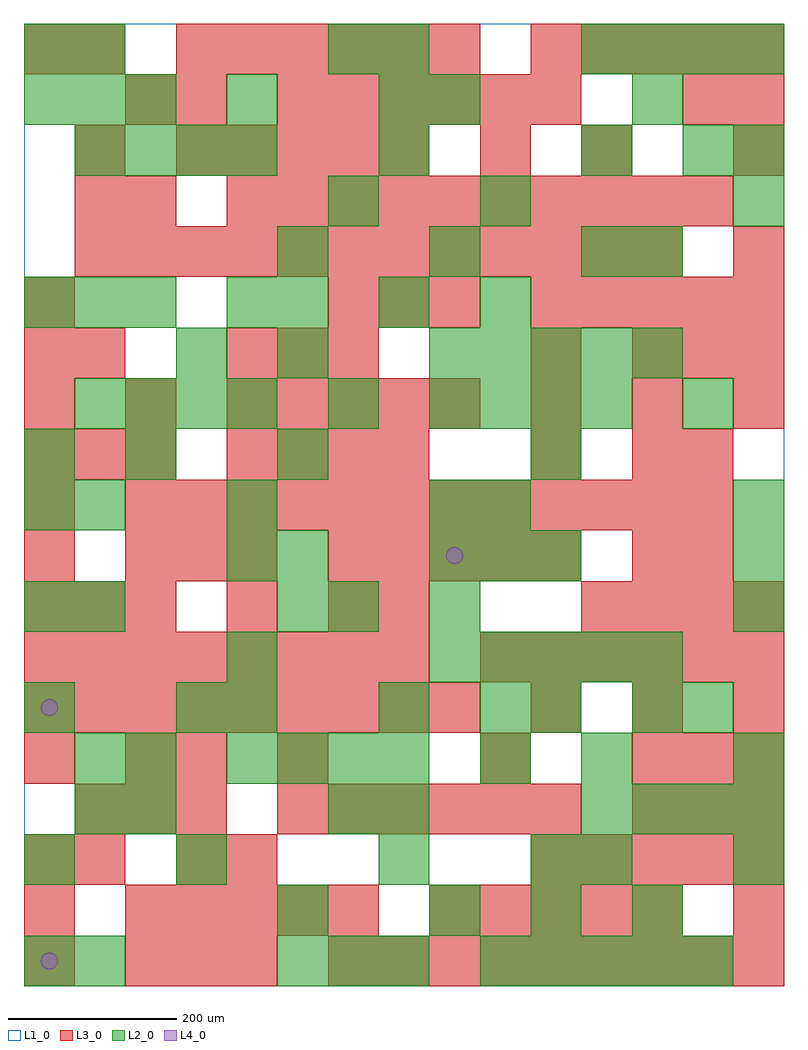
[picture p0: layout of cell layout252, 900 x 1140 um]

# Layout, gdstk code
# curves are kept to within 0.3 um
import gdstk
lib = gdstk.Library(unit=1e-6, precision=1e-09)
def R(c, l, rs):  # rectangles x0, y0, x1, y1
    for r in rs: c.add(gdstk.rectangle(r[:2], r[2:], *l))
def A(c, l, x, y, w, h, nx, ny, dx, dy):  # array of equal rectangles
    R(c, l, [(x+i*dx, y+j*dy, x+i*dx+w, y+j*dy+h) for i in range(nx) for j in range(ny)])
def P(c, l, *ps):  # polygons
    for p in ps: c.add(gdstk.Polygon(p, *l))
L1_0 = (1, 0)
L2_0 = (2, 0)
L3_0 = (3, 0)
L4_0 = (4, 0)

layout252 = lib.new_cell('layout252')
R(layout252, L1_0, [(0,0,900,1140)])
A(layout252, L2_0, 300, 0, 60, 60, 3, 1, 60, 0)
A(layout252, L2_0, 540, 0, 60, 60, 5, 1, 60, 0)
A(layout252, L2_0, 480, 60, 60, 60, 3, 1, 120, 0)
A(layout252, L2_0, 360, 180, 60, 60, 1, 4, 0, 240)
A(layout252, L2_0, 660, 180, 60, 60, 4, 2, 60, 900)
A(layout252, L2_0, 240, 240, 60, 60, 4, 1, 60, 0)
A(layout252, L2_0, 0, 300, 60, 60, 1, 3, 0, 120)
A(layout252, L2_0, 480, 360, 60, 60, 5, 2, 60, 360)
A(layout252, L2_0, 840, 420, 60, 60, 1, 3, 0, 60)
A(layout252, L2_0, 300, 480, 60, 60, 1, 3, 0, 120)
A(layout252, L2_0, 480, 480, 60, 60, 3, 1, 60, 0)
A(layout252, L2_0, 240, 540, 60, 60, 1, 3, 0, 240)
A(layout252, L2_0, 60, 660, 60, 60, 4, 2, 60, 300)
A(layout252, L2_0, 480, 660, 60, 60, 4, 1, 60, 0)
A(layout252, L2_0, 0, 780, 60, 60, 3, 2, 60, 240)
A(layout252, L2_0, 300, 780, 60, 60, 3, 1, 120, 0)
A(layout252, L2_0, 300, 840, 60, 60, 3, 1, 180, 0)
A(layout252, L2_0, 420, 960, 60, 60, 1, 3, 0, 60)
R(layout252, L2_0, [(0,0,60,60), (60,0,120,60), (300,60,360,120), (0,120,60,180), (180,120,240,180), (420,120,480,180), (600,120,660,180), (660,120,720,180), (840,120,900,180), (60,180,120,240), (120,180,180,240), (420,180,480,240), (60,240,120,300), (120,240,180,300), (540,240,600,300), (660,240,720,300), (840,240,900,300), (180,300,240,360), (240,300,300,360), (420,300,480,360), (540,300,600,360), (600,300,660,360), (720,300,780,360), (780,300,840,360), (240,360,300,420), (60,420,120,480), (300,420,360,480), (480,420,540,480), (240,480,300,540), (60,540,120,600), (480,540,540,600), (540,540,600,600), (0,600,60,660), (120,600,180,660), (600,600,660,660), (780,660,840,720), (180,720,240,780), (720,840,780,900), (540,900,600,960), (840,900,900,960), (660,960,720,1020), (780,960,840,1020), (840,960,900,1020), (480,1020,540,1080), (720,1020,780,1080), (0,1080,60,1140), (60,1080,120,1140), (360,1080,420,1140)])
A(layout252, L3_0, 0, 0, 60, 60, 1, 3, 0, 60)
A(layout252, L3_0, 120, 0, 60, 60, 3, 2, 60, 480)
A(layout252, L3_0, 360, 0, 60, 60, 9, 1, 60, 0)
A(layout252, L3_0, 120, 60, 60, 60, 5, 1, 60, 0)
A(layout252, L3_0, 480, 60, 60, 60, 5, 1, 60, 0)
A(layout252, L3_0, 600, 120, 60, 60, 5, 2, 60, 660)
A(layout252, L3_0, 60, 180, 60, 60, 3, 1, 60, 0)
A(layout252, L3_0, 300, 180, 60, 60, 6, 2, 60, 840)
A(layout252, L3_0, 720, 180, 60, 60, 3, 2, 60, 60)
A(layout252, L3_0, 0, 300, 60, 60, 9, 1, 60, 0)
A(layout252, L3_0, 600, 300, 60, 60, 3, 2, 120, 360)
A(layout252, L3_0, 0, 360, 60, 60, 8, 1, 60, 0)
A(layout252, L3_0, 540, 360, 60, 60, 6, 1, 60, 0)
A(layout252, L3_0, 0, 420, 60, 60, 3, 2, 60, 180)
A(layout252, L3_0, 660, 420, 60, 60, 4, 1, 60, 0)
A(layout252, L3_0, 360, 480, 60, 60, 5, 1, 60, 0)
A(layout252, L3_0, 120, 540, 60, 60, 12, 1, 60, 0)
A(layout252, L3_0, 240, 600, 60, 60, 4, 1, 60, 0)
A(layout252, L3_0, 0, 660, 60, 60, 3, 1, 120, 0)
A(layout252, L3_0, 300, 660, 60, 60, 4, 1, 60, 0)
A(layout252, L3_0, 240, 720, 60, 60, 3, 1, 60, 0)
A(layout252, L3_0, 720, 720, 60, 60, 3, 1, 60, 0)
A(layout252, L3_0, 360, 780, 60, 60, 3, 1, 60, 0)
A(layout252, L3_0, 60, 840, 60, 60, 12, 1, 60, 0)
A(layout252, L3_0, 240, 900, 60, 60, 10, 1, 60, 0)
A(layout252, L3_0, 180, 960, 60, 60, 5, 1, 60, 0)
A(layout252, L3_0, 180, 1080, 60, 60, 6, 1, 60, 0)
A(layout252, L3_0, 600, 1080, 60, 60, 5, 1, 60, 0)
R(layout252, L3_0, [(840,60,900,120), (60,120,120,180), (180,120,240,180), (240,120,300,180), (0,240,60,300), (120,240,180,300), (180,240,240,300), (300,240,360,300), (540,240,600,300), (240,420,300,480), (360,420,420,480), (420,420,480,480), (0,480,60,540), (720,480,780,540), (780,480,840,540), (0,540,60,600), (600,600,660,660), (720,600,780,660), (780,600,840,660), (0,720,60,780), (60,720,120,780), (600,720,660,780), (0,780,60,840), (840,840,900,900), (60,900,120,960), (120,900,180,960), (60,960,120,1020), (540,960,600,1020), (660,960,720,1020), (840,960,900,1020), (120,1020,180,1080), (180,1020,240,1080), (780,1020,840,1080), (840,1020,900,1080), (0,1080,60,1140), (60,1080,120,1140)])
P(layout252, L4_0, [(40,30),(39.239,33.827),(37.071,37.071),(33.827,39.239),(30,40),(26.173,39.239),(22.929,37.071),(20.761,33.827),(20,30),(20.761,26.173),(22.929,22.929),(26.173,20.761),(30,20),(33.827,20.761),(37.071,22.929),(39.239,26.173)],
  [(40,330),(39.239,333.827),(37.071,337.071),(33.827,339.239),(30,340),(26.173,339.239),(22.929,337.071),(20.761,333.827),(20,330),(20.761,326.173),(22.929,322.929),(26.173,320.761),(30,320),(33.827,320.761),(37.071,322.929),(39.239,326.173)],
  [(520,510),(519.239,513.827),(517.071,517.071),(513.827,519.239),(510,520),(506.173,519.239),(502.929,517.071),(500.761,513.827),(500,510),(500.761,506.173),(502.929,502.929),(506.173,500.761),(510,500),(513.827,500.761),(517.071,502.929),(519.239,506.173)])

lib.write_gds('layout252.gds')
